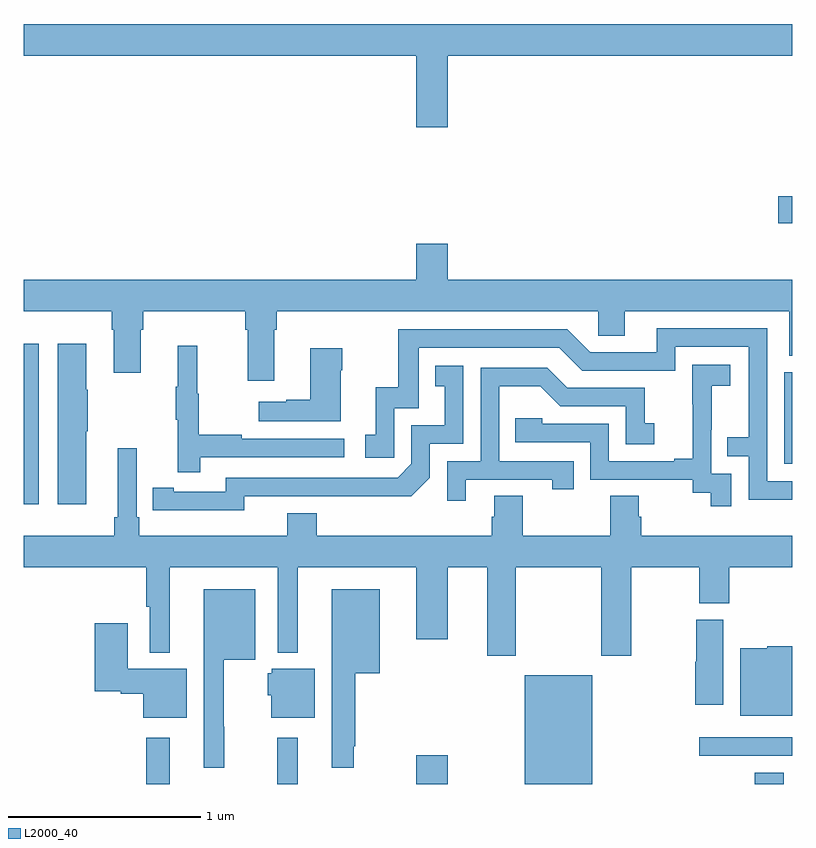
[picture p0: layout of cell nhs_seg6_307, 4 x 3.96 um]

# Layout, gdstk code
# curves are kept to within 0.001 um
import gdstk
lib = gdstk.Library(unit=1e-6, precision=1e-09)
def R(c, l, rs):  # rectangles x0, y0, x1, y1
    for r in rs: c.add(gdstk.rectangle(r[:2], r[2:], *l))
def P(c, l, *ps):  # polygons
    for p in ps: c.add(gdstk.Polygon(p, *l))
L2000_40 = (2000, 40)

nhs_seg6_307 = lib.new_cell('nhs_seg6_307')
R(nhs_seg6_307, L2000_40, [(127.638,987.5,127.759,987.742), (128.319,987.5,128.425,987.742), (129.044,987.5,129.208,987.649), (129.608,987.5,129.958,988.066), (130.805,987.5,130.957,987.559), (130.515,987.648,131,987.744), (127,988.956,127.078,989.791), (130.959,989.166,131,989.643), (130.926,990.418,131,990.56)])
P(nhs_seg6_307, L2000_40, [(129.208,991.292),(131,991.292),(131,991.456),(127,991.456),(127,991.292),(129.044,991.292),(129.044,990.918),(129.208,990.918)],
  [(128.305,989.864),(128.318,989.864),(128.318,989.96),(129.99,989.96),(129.99,989.833),(130.129,989.833),(130.129,989.96),(130.985,989.96),(130.985,989.728),(131,989.728),(131,990.124),(129.208,990.124),(129.208,990.313),(129.044,990.313),(129.044,990.124),(127,990.124),(127,989.96),(127.457,989.96),(127.457,989.864),(127.469,989.864),(127.469,989.64),(127.609,989.64),(127.609,989.864),(127.622,989.864),(127.622,989.96),(128.153,989.96),(128.153,989.864),(128.165,989.864),(128.165,989.598),(128.305,989.598)],
  [(131,989.076),(130.869,989.076),(130.869,989.871),(130.295,989.871),(130.295,989.748),(129.948,989.748),(129.828,989.868),(128.949,989.868),(128.949,989.566),(128.831,989.566),(128.831,989.319),(128.778,989.319),(128.778,989.199),(128.928,989.199),(128.928,989.457),(129.057,989.457),(129.057,989.772),(129.786,989.772),(129.906,989.652),(130.392,989.652),(130.392,989.775),(130.773,989.775),(130.773,989.306),(130.663,989.306),(130.663,989.205),(130.773,989.205),(130.773,988.98),(131,988.98)],
  [(127.324,989.335),(127.332,989.335),(127.332,989.552),(127.324,989.552),(127.324,989.791),(127.178,989.791),(127.178,988.956),(127.324,988.956)],
  [(127.919,989.202),(128.668,989.202),(128.668,989.298),(128.135,989.298),(128.135,989.318),(127.912,989.318),(127.912,989.532),(127.904,989.532),(127.904,989.782),(127.802,989.782),(127.802,989.569),(127.791,989.569),(127.791,989.395),(127.802,989.395),(127.802,989.124),(127.919,989.124)],
  [(128.65,989.654),(128.658,989.654),(128.658,989.767),(128.492,989.767),(128.492,989.501),(128.366,989.501),(128.366,989.491),(128.223,989.491),(128.223,989.387),(128.65,989.387)],
  [(130.683,989.115),(130.578,989.115),(130.578,989.345),(130.58,989.345),(130.58,989.573),(130.678,989.573),(130.678,989.683),(130.48,989.683),(130.48,989.477),(130.481,989.477),(130.481,989.194),(130.385,989.194),(130.385,989.181),(130.044,989.181),(130.044,989.376),(129.699,989.376),(129.699,989.403),(129.559,989.403),(129.559,989.28),(129.948,989.28),(129.948,989.085),(130.482,989.085),(130.482,989.017),(130.575,989.017),(130.575,988.947),(130.683,988.947)],
  [(128.148,988.998),(129.016,988.997),(129.114,989.094),(129.114,989.271),(129.288,989.271),(129.288,989.677),(129.142,989.677),(129.142,989.571),(129.191,989.571),(129.191,989.367),(129.018,989.367),(129.018,989.166),(128.946,989.094),(128.052,989.094),(128.052,989.022),(127.78,989.022),(127.78,989.042),(127.672,989.042),(127.672,988.926),(128.148,988.925)],
  [(129.301,989.085),(129.752,989.085),(129.752,989.034),(129.863,989.034),(129.863,989.181),(129.474,989.181),(129.474,989.57),(129.688,989.57),(129.792,989.466),(130.134,989.466),(130.134,989.268),(130.282,989.268),(130.282,989.377),(130.233,989.377),(130.233,989.562),(129.829,989.562),(129.724,989.667),(129.378,989.667),(129.378,989.181),(129.204,989.181),(129.204,988.974),(129.301,988.974)],
  [(129.561,988.628),(130.006,988.628),(130.006,988.167),(130.161,988.167),(130.161,988.628),(130.516,988.628),(130.516,988.441),(130.671,988.441),(130.671,988.628),(131,988.628),(131,988.792),(130.214,988.792),(130.214,988.89),(130.201,988.89),(130.201,989),(130.054,989),(130.054,988.792),(129.597,988.792),(129.597,989),(129.449,989),(129.449,988.89),(129.437,988.89),(129.437,988.792),(128.525,988.792),(128.525,988.909),(128.372,988.909),(128.372,988.792),(127.601,988.792),(127.601,988.888),(127.587,988.888),(127.587,989.248),(127.49,989.248),(127.49,988.888),(127.471,988.888),(127.471,988.792),(127,988.792),(127,988.628),(127.638,988.628),(127.638,988.423),(127.655,988.423),(127.655,988.184),(127.759,988.184),(127.759,988.628),(128.321,988.628),(128.321,988.184),(128.425,988.184),(128.425,988.628),(129.044,988.628),(129.044,988.254),(129.208,988.254),(129.208,988.628),(129.413,988.628),(129.413,988.167),(129.561,988.167)],
  [(128.717,987.697),(128.725,987.697),(128.725,988.076),(128.854,988.076),(128.854,988.513),(128.603,988.513),(128.603,987.585),(128.717,987.585)],
  [(128.044,987.797),(128.041,987.797),(128.041,988.148),(128.206,988.148),(128.206,988.513),(127.937,988.513),(127.937,987.585),(128.044,987.585)],
  [(130.642,988.356),(130.501,988.356),(130.501,988.137),(130.496,988.137),(130.496,987.912),(130.642,987.912)],
  [(127.849,988.099),(127.54,988.099),(127.54,988.336),(127.37,988.336),(127.37,987.983),(127.506,987.983),(127.506,987.971),(127.622,987.971),(127.622,987.845),(127.849,987.845)],
  [(131,988.216),(130.869,988.216),(130.869,988.207),(130.73,988.207),(130.73,987.854),(131,987.854)],
  [(128.515,988.099),(128.292,988.099),(128.292,988.077),(128.27,988.077),(128.27,987.963),(128.288,987.963),(128.288,987.845),(128.515,987.845)])

lib.write_gds('nhs_seg6_307.gds')
